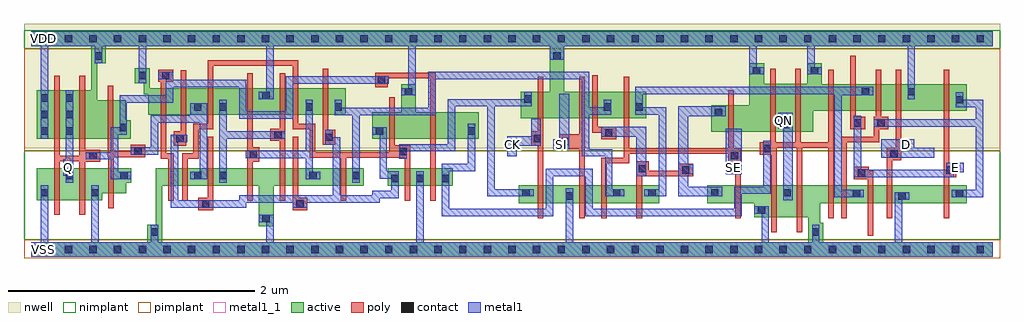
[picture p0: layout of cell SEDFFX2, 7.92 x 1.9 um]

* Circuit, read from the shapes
.subckt SEDFFX2 CK D E Q QN SE SI VDD VSS
M1 Q n1 VSS VSS nfet w=0.26u l=0.045u m=2
M2 n1 n2 VSS VSS nfet w=0.205u l=0.045u
M3 n3 n1 VSS VSS nfet w=0.145u l=0.045u
M4 n2 n4 n3 VSS nfet w=0.145u l=0.045u
M5 n5 n6 n2 VSS nfet w=0.145u l=0.045u
M6 VSS n7 n5 VSS nfet w=0.145u l=0.045u
M7 n8 n5 VSS VSS nfet w=0.145u l=0.045u
M8 n7 n6 n8 VSS nfet w=0.145u l=0.045u
M9 n9 n4 n7 VSS nfet w=0.145u l=0.045u
M10 VSS n4 n6 VSS nfet w=0.145u l=0.045u
M11 n10 n1 VSS VSS nfet w=0.145u l=0.045u
M12 VSS CK n4 VSS nfet w=0.145u l=0.045u
M13 n11 SI VSS VSS nfet w=0.145u l=0.045u
M14 n9 SE n11 VSS nfet w=0.145u l=0.045u
M15 n12 n13 n9 VSS nfet w=0.145u l=0.045u
M16 VSS SE n13 VSS nfet w=0.145u l=0.045u
M17 QN n10 VSS VSS nfet w=0.26u l=0.045u m=2
M18 n14 n10 VSS VSS nfet w=0.145u l=0.045u
M19 n12 n15 n14 VSS nfet w=0.145u l=0.045u
M20 n16 E n12 VSS nfet w=0.145u l=0.045u
M21 VSS D n16 VSS nfet w=0.145u l=0.045u
M22 n15 E VSS VSS nfet w=0.145u l=0.045u
M23 Q n1 VDD VDD pfet w=0.39u l=0.045u m=2
M24 n1 n2 VDD VDD pfet w=0.31u l=0.045u
M25 n17 n1 VDD VDD pfet w=0.215u l=0.045u
M26 n2 n6 n17 VDD pfet w=0.215u l=0.045u
M27 n5 n4 n2 VDD pfet w=0.215u l=0.045u
M28 VDD n7 n5 VDD pfet w=0.215u l=0.045u
M29 n18 n5 VDD VDD pfet w=0.215u l=0.045u
M30 n7 n4 n18 VDD pfet w=0.215u l=0.045u
M31 n9 n6 n7 VDD pfet w=0.215u l=0.045u
M32 VDD n4 n6 VDD pfet w=0.215u l=0.045u
M33 n10 n1 VDD VDD pfet w=0.215u l=0.045u
M34 VDD CK n4 VDD pfet w=0.215u l=0.045u
M35 n19 SI VDD VDD pfet w=0.215u l=0.045u
M36 n9 n13 n19 VDD pfet w=0.215u l=0.045u
M37 n12 SE n9 VDD pfet w=0.215u l=0.045u
M38 VDD SE n13 VDD pfet w=0.215u l=0.045u
M39 QN n10 VDD VDD pfet w=0.39u l=0.045u m=2
M40 n20 n10 VDD VDD pfet w=0.215u l=0.045u
M41 n12 E n20 VDD pfet w=0.215u l=0.045u
M42 n21 n15 n12 VDD pfet w=0.215u l=0.045u
M43 VDD D n21 VDD pfet w=0.215u l=0.045u
M44 n15 E VDD VDD pfet w=0.215u l=0.045u
.ends

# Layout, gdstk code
import gdstk
lib = gdstk.Library(unit=1e-6, precision=5e-10)
def R(c, l, rs):  # rectangles x0, y0, x1, y1
    for r in rs: c.add(gdstk.rectangle(r[:2], r[2:], *l))
def A(c, l, x, y, w, h, nx, ny, dx, dy):  # array of equal rectangles
    R(c, l, [(x+i*dx, y+j*dy, x+i*dx+w, y+j*dy+h) for i in range(nx) for j in range(ny)])
def P(c, l, *ps):  # polygons
    for p in ps: c.add(gdstk.Polygon(p, *l))
active = (1, 0)
nwell = (2, 0)
poly = (3, 0)
nimplant = (4, 0)
pimplant = (5, 0)
contact = (6, 0)
metal1 = (7, 0)
metal1_1 = (7, 1)

sedffx2 = lib.new_cell('SEDFFX2')
R(sedffx2, active, [(3.955,0.375,5.095,0.52), (2.89,0.515,3.42,0.66)])
P(sedffx2, active, [(0,1.77),(7.8,1.77),(7.8,1.65),(4.325,1.65),(4.325,1.28),(4.99,1.28),(4.99,1.065),(3.97,1.065),(3.97,1.28),(4.205,1.28),(4.205,1.65),(0.605,1.65),(0.605,1.51),(0.535,1.51),(0.535,1.21),(0.765,1.21),(0.765,1.05),(0.805,1.05),(0.805,0.9),(0.045,0.9),(0.045,1.29),(0.485,1.29),(0.485,1.65),(0,1.65)],
  [(0.84,1.47),(0.96,1.47),(0.96,1.31),(2.55,1.31),(2.55,1.095),(0.95,1.095),(0.95,1.26),(0.91,1.26),(0.91,1.35),(0.84,1.35)],
  [(3,1.34),(3.12,1.34),(3.12,1.115),(3.63,1.115),(3.63,0.9),(2.765,0.9),(2.765,1.115),(3,1.115)],
  [(5.825,1.51),(5.945,1.51),(5.945,1.345),(6.295,1.345),(6.295,1.51),(6.415,1.51),(6.415,1.34),(7.59,1.34),(7.59,1.125),(6.345,1.125),(6.345,0.955),(5.515,0.955),(5.515,1.17),(5.825,1.17)],
  [(0.045,0.66),(0.81,0.66),(0.81,0.54),(0.77,0.54),(0.77,0.455),(0.575,0.455),(0.575,0.4),(0.045,0.4)],
  [(1.01,0.66),(2.695,0.66),(2.695,0.515),(1.965,0.515),(1.965,0.19),(1.845,0.19),(1.845,0.515),(1.06,0.515),(1.06,0.06),(6.305,0.06),(6.305,0.26),(5.865,0.26),(5.865,0.375),(5.485,0.375),(5.485,0.52),(7.59,0.52),(7.59,0.375),(6.4,0.375),(6.4,0.215),(6.425,0.215),(6.425,0.06),(7.8,0.06),(7.8,-0.06),(0,-0.06),(0,0.06),(0.94,0.06),(0.94,0.2),(1.01,0.2)])
R(sedffx2, nwell, [(-0.06,0.82,7.86,1.83)])
P(sedffx2, poly, [(1.43,1.535),(2.165,1.535),(2.165,1.02),(2.305,1.02),(2.305,0.79),(2.905,0.79),(2.905,1.235),(2.95,1.235),(2.95,0.845),(3.075,0.845),(3.075,0.395),(3.03,0.395),(3.03,0.745),(2.555,0.745),(2.555,0.395),(2.51,0.395),(2.51,0.745),(2.26,0.745),(2.26,0.975),(2.12,0.975),(2.12,1.49),(1.475,1.49),(1.475,0.975),(1.36,0.975),(1.36,0.735),(1.27,0.735),(1.27,0.395),(1.225,0.395),(1.225,0.78),(1.315,0.78),(1.315,1.02),(1.43,1.02)],
  [(1.03,1.46),(1.15,1.46),(1.15,1.36),(1.095,1.36),(1.095,0.78),(1.155,0.78),(1.155,0.395),(1.11,0.395),(1.11,0.735),(1.05,0.735),(1.05,1.36),(1.03,1.36)],
  [(0.185,1.41),(0.23,1.41),(0.23,0.76),(0.39,0.76),(0.39,1.41),(0.435,1.41),(0.435,0.81),(0.56,0.81),(0.56,0.71),(0.435,0.71),(0.435,0.28),(0.39,0.28),(0.39,0.715),(0.23,0.715),(0.23,0.28),(0.185,0.28)],
  [(0.62,1.33),(0.665,1.33),(0.665,0.795),(0.805,0.795),(0.805,0.85),(0.925,0.85),(0.925,0.75),(0.67,0.75),(0.67,0.335),(0.625,0.335),(0.625,0.75),(0.62,0.75)],
  [(1.21,1.455),(1.255,1.455),(1.255,0.84),(1.155,0.84),(1.155,0.96),(1.21,0.96)],
  [(1.75,1.43),(1.795,1.43),(1.795,0.83),(1.85,0.83),(1.85,0.71),(1.795,0.71),(1.795,0.395),(1.75,0.395)],
  [(2.015,1.43),(2.06,1.43),(2.06,0.395),(2.015,0.395),(2.015,0.88),(1.94,0.88),(1.94,0.98),(2.015,0.98)],
  [(2.79,1.435),(3.28,1.435),(3.28,0.395),(3.235,0.395),(3.235,1.39),(2.89,1.39),(2.89,1.315),(2.79,1.315)],
  [(2.365,1.465),(2.41,1.465),(2.41,0.97),(2.465,0.97),(2.465,0.85),(2.365,0.85)],
  [(4.11,1.4),(4.155,1.4),(4.155,0.255),(4.11,0.255),(4.11,0.84),(4.055,0.84),(4.055,0.96),(4.11,0.96)],
  [(4.445,1.4),(4.49,1.4),(4.49,0.255),(4.445,0.255),(4.445,0.815),(4.285,0.815),(4.285,0.935),(4.445,0.935)],
  [(4.55,1.415),(4.595,1.415),(4.595,0.995),(4.745,0.995),(4.745,0.895),(4.625,0.895),(4.625,0.945),(4.55,0.945)],
  [(4.805,1.4),(4.85,1.4),(4.85,0.82),(5.655,0.82),(5.655,1.29),(5.7,1.29),(5.7,0.82),(5.755,0.82),(5.755,0.255),(5.71,0.255),(5.71,0.7),(5.655,0.7),(5.655,0.775),(4.85,0.775),(4.85,0.7),(4.67,0.7),(4.67,0.255),(4.625,0.255),(4.625,0.745),(4.805,0.745)],
  [(5.995,1.465),(6.04,1.465),(6.04,0.87),(6.2,0.87),(6.2,1.465),(6.245,1.465),(6.245,0.87),(6.465,0.87),(6.465,1.46),(6.51,1.46),(6.51,0.255),(6.465,0.255),(6.465,0.825),(6.255,0.825),(6.255,0.14),(6.21,0.14),(6.21,0.825),(6.05,0.825),(6.05,0.14),(6.005,0.14),(6.005,0.77),(5.91,0.77),(5.91,0.87),(5.995,0.87)],
  [(6.645,1.57),(6.69,1.57),(6.69,1.075),(6.765,1.075),(6.765,0.975),(6.645,0.975)],
  [(6.85,1.46),(6.895,1.46),(6.895,1.075),(6.955,1.075),(6.955,0.975),(6.88,0.975),(6.88,0.87),(6.615,0.87),(6.615,0.255),(6.57,0.255),(6.57,0.915),(6.835,0.915),(6.835,1.075),(6.85,1.075)],
  [(7.015,1.46),(7.06,1.46),(7.06,0.725),(6.985,0.725),(6.985,0.255),(6.94,0.255),(6.94,0.825),(7.015,0.825)],
  [(7.405,1.46),(7.45,1.46),(7.45,0.705),(7.505,0.705),(7.505,0.585),(7.45,0.585),(7.45,0.255),(7.405,0.255)],
  [(6.675,0.67),(6.795,0.67),(6.795,0.64),(6.83,0.64),(6.83,0.11),(6.785,0.11),(6.785,0.57),(6.675,0.57)],
  [(1.43,0.915),(1.475,0.915),(1.475,0.32),(1.355,0.32),(1.355,0.42),(1.43,0.42)],
  [(2.12,0.915),(2.165,0.915),(2.165,0.42),(2.24,0.42),(2.24,0.32),(2.12,0.32)],
  [(4.91,0.715),(5.01,0.715),(5.01,0.64),(5.25,0.64),(5.25,0.695),(5.37,0.695),(5.37,0.595),(4.955,0.595),(4.955,0.255),(4.91,0.255)])
R(sedffx2, nimplant, [(-0.06,0.08,7.86,0.8), (-0.06,1.63,7.86,1.78)])
R(sedffx2, pimplant, [(-0.06,-0.07,7.86,0.08), (-0.06,0.8,7.86,1.63)])
A(sedffx2, contact, 0.07, -0.03, 0.06, 0.06, 39, 2, 0.2, 1.71)
A(sedffx2, contact, 2.92, 0.545, 0.06, 0.06, 3, 1, 0.205, 0)
A(sedffx2, contact, 0.075, 0.93, 0.06, 0.06, 1, 3, 0, 0.135)
A(sedffx2, contact, 0.28, 0.93, 0.06, 0.06, 1, 3, 0, 0.135)
R(sedffx2, contact, [(0.97,0.11,1.03,0.17), (6.335,0.11,6.395,0.17), (1.875,0.22,1.935,0.28), (5.895,0.29,5.955,0.35), (1.385,0.34,1.445,0.4), (2.15,0.34,2.21,0.4), (4.335,0.405,4.395,0.465), (7.035,0.405,7.095,0.465), (6.665,0.425,6.725,0.485), (7.5,0.425,7.56,0.485), (0.075,0.43,0.135,0.49), (0.485,0.43,0.545,0.49), (3.985,0.43,4.045,0.49), (4.72,0.43,4.78,0.49), (5.005,0.43,5.065,0.49), (5.515,0.43,5.575,0.49), (6.1,0.43,6.16,0.49), (0.28,0.57,0.34,0.63), (0.72,0.57,0.78,0.63), (1.32,0.57,1.38,0.63), (1.525,0.57,1.585,0.63), (2.255,0.57,2.315,0.63), (2.605,0.57,2.665,0.63), (6.705,0.59,6.765,0.65), (5.28,0.615,5.34,0.675), (7.425,0.615,7.485,0.675), (4.93,0.625,4.99,0.685), (0.47,0.73,0.53,0.79), (5.675,0.73,5.735,0.79), (1.77,0.74,1.83,0.8), (6.97,0.745,7.03,0.805), (2.985,0.765,3.045,0.825), (0.835,0.77,0.895,0.83), (5.94,0.79,6,0.85), (4.305,0.845,4.365,0.905), (1.175,0.87,1.235,0.93), (4.075,0.87,4.135,0.93), (2.385,0.88,2.445,0.94), (1.97,0.9,2.03,0.96), (4.655,0.915,4.715,0.975), (2.795,0.93,2.855,0.99), (3.54,0.93,3.6,0.99), (0.715,0.96,0.775,1.02), (6.09,0.985,6.15,1.045), (6.675,0.995,6.735,1.055), (6.865,0.995,6.925,1.055), (5.545,1.08,5.605,1.14), (1.32,1.125,1.38,1.185), (1.525,1.125,1.585,1.185), (2.225,1.125,2.285,1.185), (2.46,1.125,2.52,1.185), (4.645,1.125,4.705,1.185), (4.9,1.125,4.96,1.185), (7.5,1.185,7.56,1.245), (4,1.19,4.06,1.25), (1.875,1.22,1.935,1.28), (3.03,1.25,3.09,1.31), (6.74,1.25,6.8,1.31), (7.11,1.25,7.17,1.31), (2.81,1.345,2.87,1.405), (0.87,1.38,0.93,1.44), (1.06,1.38,1.12,1.44), (5.855,1.42,5.915,1.48), (6.325,1.42,6.385,1.48), (0.515,1.54,0.575,1.6), (4.235,1.54,4.295,1.6)])
R(sedffx2, metal1, [(5.635,0.61,5.765,0.98)])
P(sedffx2, metal1, [(0,1.77),(7.8,1.77),(7.8,1.65),(7.17,1.65),(7.17,1.22),(7.11,1.22),(7.11,1.65),(6.355,1.65),(6.355,1.48),(6.415,1.48),(6.415,1.42),(6.295,1.42),(6.295,1.65),(5.885,1.65),(5.885,1.48),(5.945,1.48),(5.945,1.42),(5.825,1.42),(5.825,1.65),(4.325,1.65),(4.325,1.54),(4.205,1.54),(4.205,1.65),(3.12,1.65),(3.12,1.25),(3,1.25),(3,1.31),(3.06,1.31),(3.06,1.65),(1.965,1.65),(1.965,1.22),(1.845,1.22),(1.845,1.28),(1.905,1.28),(1.905,1.65),(0.93,1.65),(0.93,1.35),(0.87,1.35),(0.87,1.65),(0.575,1.65),(0.575,1.51),(0.515,1.51),(0.515,1.65),(0.135,1.65),(0.135,0.9),(0.075,0.9),(0.075,1.65),(0,1.65)],
  [(1.03,1.44),(1.15,1.44),(1.15,1.375),(1.745,1.375),(1.745,1.12),(2.065,1.12),(2.065,1.405),(2.9,1.405),(2.9,1.345),(2.125,1.345),(2.125,1.06),(1.685,1.06),(1.685,1.315),(1.15,1.315),(1.15,1.19),(0.775,1.19),(0.775,0.93),(0.705,0.93),(0.705,0.63),(0.81,0.63),(0.81,0.57),(0.645,0.57),(0.645,0.73),(0.44,0.73),(0.44,0.79),(0.645,0.79),(0.645,0.99),(0.715,0.99),(0.715,1.25),(1.09,1.25),(1.09,1.38),(1.03,1.38)],
  [(0.28,1.29),(0.34,1.29),(0.34,0.54),(0.28,0.54),(0.28,0.6),(0.26,0.6),(0.26,0.73),(0.28,0.73)],
  [(1.525,1.215),(1.585,1.215),(1.585,0.96),(2.06,0.96),(2.06,0.9),(1.585,0.9),(1.585,0.54),(1.525,0.54)],
  [(1.29,1.185),(1.425,1.185),(1.425,0.57),(1.29,0.57),(1.29,0.63),(1.365,0.63),(1.365,1.03),(1.03,1.03),(1.03,0.77),(0.805,0.77),(0.805,0.83),(0.97,0.83),(0.97,1.09),(1.29,1.09)],
  [(1.13,0.93),(1.265,0.93),(1.265,0.87),(1.19,0.87),(1.19,0.4),(1.685,0.4),(1.685,0.44),(2.445,0.44),(2.445,0.85),(2.385,0.85),(2.385,0.97),(2.445,0.97),(2.445,0.91),(2.505,0.91),(2.505,0.44),(2.765,0.44),(2.765,0.475),(2.92,0.475),(2.92,0.575),(2.825,0.575),(2.825,0.93),(2.765,0.93),(2.765,0.99),(2.885,0.99),(2.885,0.635),(2.98,0.635),(2.98,0.415),(2.825,0.415),(2.825,0.38),(2.24,0.38),(2.24,0.34),(2.12,0.34),(2.12,0.38),(1.745,0.38),(1.745,0.34),(1.13,0.34)],
  [(0.075,0.52),(0.135,0.52),(0.135,0.06),(0.485,0.06),(0.485,0.52),(0.545,0.52),(0.545,0.06),(0.97,0.06),(0.97,0.2),(1.03,0.2),(1.03,0.06),(1.905,0.06),(1.905,0.22),(1.845,0.22),(1.845,0.28),(1.965,0.28),(1.965,0.06),(3.125,0.06),(3.125,0.635),(3.185,0.635),(3.185,0.06),(4.335,0.06),(4.335,0.495),(4.395,0.495),(4.395,0.06),(5.925,0.06),(5.925,0.29),(5.865,0.29),(5.865,0.35),(5.985,0.35),(5.985,0.06),(6.335,0.06),(6.335,0.2),(6.395,0.2),(6.395,0.06),(7.005,0.06),(7.005,0.465),(7.125,0.465),(7.125,0.405),(7.065,0.405),(7.065,0.06),(7.8,0.06),(7.8,-0.06),(0,-0.06),(0,0.06),(0.075,0.06)],
  [(3.22,1.44),(4.525,1.44),(4.525,1.155),(4.645,1.155),(4.645,1.215),(4.705,1.215),(4.705,1.095),(4.525,1.095),(4.525,0.815),(4.715,0.815),(4.715,0.49),(4.81,0.49),(4.81,0.43),(4.655,0.43),(4.655,0.755),(4.465,0.755),(4.465,1.38),(3.28,1.38),(3.28,1.09),(2.665,1.09),(2.665,0.54),(2.605,0.54),(2.605,1.09),(2.46,1.09),(2.46,1.215),(2.52,1.215),(2.52,1.15),(3.22,1.15)],
  [(2.225,1.215),(2.285,1.215),(2.285,0.63),(2.345,0.63),(2.345,0.57),(2.225,0.57),(2.225,0.74),(1.74,0.74),(1.74,0.8),(2.225,0.8)],
  [(4.9,1.32),(6.83,1.32),(6.83,1.25),(6.575,1.25),(6.575,0.485),(6.755,0.485),(6.755,0.425),(6.515,0.425),(6.515,1.26),(4.96,1.26),(4.96,1.155),(5.15,1.155),(5.15,0.43),(4.975,0.43),(4.975,0.49),(5.09,0.49),(5.09,1.095),(4.9,1.095)],
  [(7.5,1.275),(7.56,1.275),(7.56,1.215),(7.725,1.215),(7.725,0.425),(7.47,0.425),(7.47,0.485),(7.665,0.485),(7.665,0.995),(6.835,0.995),(6.835,1.055),(7.665,1.055),(7.665,1.155),(7.5,1.155)],
  [(4,1.28),(4.06,1.28),(4.06,1.16),(3.76,1.16),(3.76,0.49),(4.075,0.49),(4.075,0.43),(3.7,0.43),(3.7,1.16),(3.44,1.16),(3.44,0.795),(3.045,0.795),(3.045,0.735),(2.985,0.735),(2.985,0.855),(3.38,0.855),(3.38,1.22),(4,1.22)],
  [(3.54,1.02),(3.6,1.02),(3.6,0.635),(3.39,0.635),(3.39,0.33),(4.175,0.33),(4.175,0.655),(4.555,0.655),(4.555,0.33),(5.705,0.33),(5.705,0.51),(5.94,0.51),(5.94,0.88),(6,0.88),(6,0.45),(5.765,0.45),(5.765,0.27),(4.495,0.27),(4.495,0.595),(4.235,0.595),(4.235,0.27),(3.33,0.27),(3.33,0.695),(3.54,0.695)],
  [(4.055,1.06),(4.135,1.06),(4.135,0.84),(3.94,0.84),(3.94,0.755),(3.86,0.755),(3.86,0.92),(4.055,0.92)],
  [(4.285,1.265),(4.365,1.265),(4.365,0.815),(4.235,0.815),(4.235,0.895),(4.285,0.895)],
  [(4.625,0.995),(4.99,0.995),(4.99,0.595),(4.91,0.595),(4.91,0.915),(4.625,0.915)],
  [(5.25,1.16),(5.635,1.16),(5.635,1.08),(5.33,1.08),(5.33,0.69),(5.37,0.69),(5.37,0.61),(5.33,0.61),(5.33,0.51),(5.605,0.51),(5.605,0.43),(5.25,0.43)],
  [(6.06,1.11),(6.18,1.11),(6.18,0.4),(6.1,0.4),(6.1,0.98),(6.06,0.98)],
  [(6.675,1.085),(6.735,1.085),(6.735,0.65),(6.795,0.65),(6.795,0.645),(7.425,0.645),(7.425,0.705),(7.565,0.705),(7.565,0.625),(7.485,0.625),(7.485,0.585),(6.675,0.585)],
  [(6.895,0.895),(7.165,0.895),(7.165,0.825),(7.325,0.825),(7.325,0.745),(6.895,0.745)])
R(sedffx2, metal1_1, [(0.06,-0.04,0.14,0.04), (0.26,0.625,0.34,0.705), (5.66,0.625,5.74,0.705), (7.46,0.625,7.54,0.705), (3.86,0.815,3.94,0.895), (4.26,0.815,4.34,0.895), (7.06,0.815,7.14,0.895), (6.06,1.005,6.14,1.085), (0.06,1.67,0.14,1.75)])
sedffx2.add(gdstk.Label('QN', (6.1,1.045), layer=7, texttype=1))
sedffx2.add(gdstk.Label('Q', (0.3,0.665), layer=7, texttype=1))
sedffx2.add(gdstk.Label('E', (7.5,0.665), layer=7, texttype=1))
sedffx2.add(gdstk.Label('D', (7.1,0.855), layer=7, texttype=1))
sedffx2.add(gdstk.Label('SE', (5.7,0.665), layer=7, texttype=1))
sedffx2.add(gdstk.Label('SI', (4.3,0.855), layer=7, texttype=1))
sedffx2.add(gdstk.Label('CK', (3.9,0.855), layer=7, texttype=1))
sedffx2.add(gdstk.Label('VDD', (0.1,1.71), layer=7, texttype=1))
sedffx2.add(gdstk.Label('VSS', (0.1,0), layer=7, texttype=1))
sedffx2.add(gdstk.Label('SEDFFX2', (0,0), layer=63, texttype=0))

lib.write_gds('SEDFFX2.gds')
